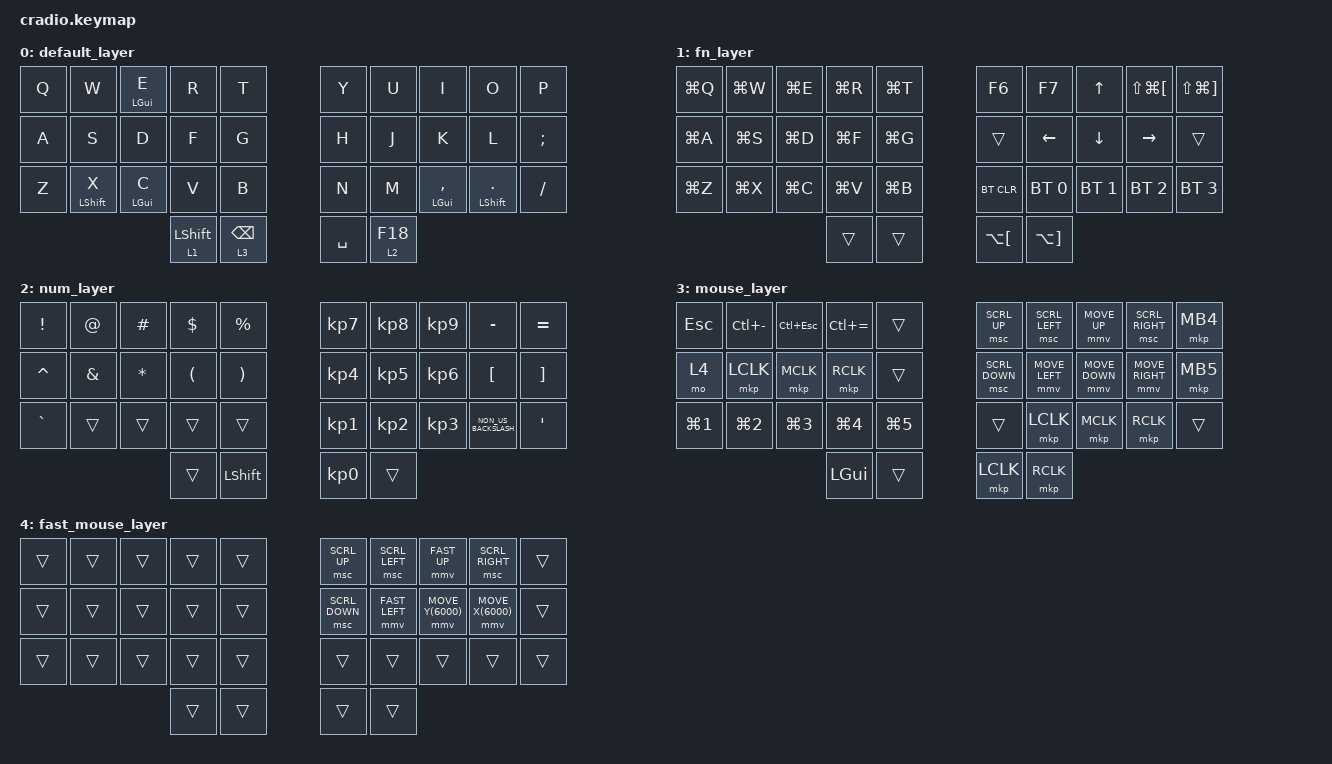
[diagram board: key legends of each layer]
// 🚀 마우스 최대 속도 직접 지정 (반드시 include 헤더들보다 위에 적어야 함!) 🚀
// #define ZMK_MOUSE_DEFAULT_MOVE_VAL 1500  // 마우스 이동 최고 속도 (기본값 보통 600, 1500~2000 추천)
// #define ZMK_MOUSE_DEFAULT_SCRL_VAL 15    // 마우스 휠 최고 속도 (기본값 보통 10)
// v0.3 매크로 이름으로 변경

#define ZMK_POINTING_DEFAULT_MOVE_VAL 3500   // 최고 속도 (이전 2000 → 3500)
#define ZMK_POINTING_DEFAULT_SCRL_VAL 15
#define FAST_UP    MOVE_Y(-6000)
#define FAST_DOWN  MOVE_Y(6000)
#define FAST_LEFT  MOVE_X(-6000)
#define FAST_RIGHT MOVE_X(6000)

#include <behaviors.dtsi>
#include <dt-bindings/zmk/bt.h>
#include <dt-bindings/zmk/keys.h>
#include <dt-bindings/zmk/pointing.h>

// 🚀 마우스 이동 속도 & 가속도 튜닝 🚀

&mmv {
    trigger-period-ms = <5>;         // 업데이트 주기 (8 → 5, 끊김 완화)
    acceleration-exponent = <1>;      // 가속도 (2차→선형, 초반 속도 즉시 반응)
    time-to-max-speed-ms = <400>;     // 최고 속도 도달 시간 (300 → 400, 가속 곡선 살짝 완만하게)
    delay-ms = <0>;                   // 키를 누르고 마우스가 움직이기 시작할 때까지의 딜레이
};

// 🌀 마우스 휠 스크롤 속도 튜닝 🌀

&msc {
    trigger-period-ms = <8>;         // 스크롤 업데이트 주기
    acceleration-exponent = <0>;      // 가속도 없음 → 첫 입력부터 최고 속도 (즉답)
    time-to-max-speed-ms = <120>;     // 보조용 (exponent=0이면 거의 영향 없음)
    delay-ms = <0>;                   // 스크롤 딜레이
};

&mt {
    flavor = "balanced";
    tapping-term-ms = <180>;
    quick-tap-ms = <150>;
    require-prior-idle-ms = <125>;
};

/ {
    behaviors {
        // hold → mo, tap → sticky shift (한글 쌍자음 타이핑용)

        lt_sk: layer_tap_sticky {
            compatible = "zmk,behavior-hold-tap";
            #binding-cells = <2>;
            tapping-term-ms = <200>;
            quick-tap-ms = <175>;
            flavor = "balanced";
            bindings = <&mo>, <&sk>;
        };

        // 탭 후 홀드하면 tap 동작 반복 (백스페이스 연타)

        lt_bspc: layer_tap_backspace {
            compatible = "zmk,behavior-hold-tap";
            #binding-cells = <2>;
            tapping-term-ms = <200>;
            quick-tap-ms = <200>;
            flavor = "tap-preferred";
            bindings = <&mo>, <&kp>;
        };
    };

    macros {
        mc_vim_save: mc_vim_save {
            compatible = "zmk,behavior-macro";
            #binding-cells = <0>;
            wait-ms = <10>;
            tap-ms = <10>;
            bindings = <&kp COLON &kp W &kp ENTER>;
        };

        mc_vim_qa: mc_vim_qa {
            compatible = "zmk,behavior-macro";
            #binding-cells = <0>;
            wait-ms = <10>;
            tap-ms = <10>;
            bindings = <&kp COLON &kp Q &kp A &kp ENTER>;
        };
    };

    // UHK 콤보(동시 입력) 완벽 이식
    /*     Left Hand               Right Hand */
    /* ╭───┬───┬───┬───┬───╮   ╭───┬───┬───┬───┬───╮ */
    /* │ 0 │ 1 │ 2 │ 3 │ 4 │   │ 5 │ 6 │ 7 │ 8 │ 9 │  (상단) */
    /* ├───┼───┼───┼───┼───┤   ├───┼───┼───┼───┼───┤ */
    /* │10 │11 │12 │13 │14 │   │15 │16 │17 │18 │19 │  (중단/홈) */
    /* ├───┼───┼───┼───┼───┤   ├───┼───┼───┼───┼───┤ */
    /* │20 │21 │22 │23 │24 │   │25 │26 │27 │28 │29 │  (하단) */
    /* ╰───┴───┴───┼───┼───┤   ├───┼───┴───┴───┴───╯ */
    /*             │30 │31 │   │32 │33 │              (엄지) */
    /*             ╰───┴───╯   ╰───┴───╯ */

    combos {
        compatible = "zmk,combos";

        combo_tab {
            timeout-ms = <50>;
            key-positions = <0 1>; // Q + W
            bindings = <&kp TAB>;
        };

        combo_shift_tab {
            timeout-ms = <60>;
            key-positions = <1 2>; // W + E
            bindings = <&kp LS(TAB)>;
        };

        combo_enter {
            timeout-ms = <40>;
            key-positions = <16 18>; // J + L
            bindings = <&kp ENTER>;
        };

        AS_LCTRL {
            timeout-ms = <30>;
            layers = <0>;
            bindings = <&kp LCTRL>;
            key-positions = <10 11>;
        };

        SD_LGUI {
            timeout-ms = <30>;
            layers = <0>;
            bindings = <&kp LGUI>;
            key-positions = <11 12>;
        };

        DF_LSHFT {
            timeout-ms = <30>;
            layers = <0>;
            bindings = <&kp LSHFT>;
            key-positions = <12 13>;
        };

        FG_LALT {
            timeout-ms = <30>;
            layers = <0>;
            bindings = <&kp LALT>;
            key-positions = <13 14>;
        };

        JK_RCTRL {
            timeout-ms = <30>;
            layers = <0>;
            bindings = <&kp LCTRL>;
            key-positions = <16 17>;
        };

        KL_RGUI {
            timeout-ms = <30>;
            layers = <0>;
            bindings = <&kp LGUI>;
            key-positions = <17 18>;
        };

        LL_RSHFT {
            timeout-ms = <30>;
            layers = <0>;
            bindings = <&kp LSHFT>;
            key-positions = <18 19>;
        };

        combo_enter_nm {
            timeout-ms = <40>;
            layers = <0>;
            key-positions = <25 26>; // N + M → ENTER
            bindings = <&kp ENTER>;
        };

        combo_vim_save {
            timeout-ms = <40>;
            layers = <0>;
            key-positions = <24 25>;
            bindings = <&mc_vim_save>;
        };

        combo_vim_qa {
            timeout-ms = <40>;
            layers = <0>;
            key-positions = <23 26>;
            bindings = <&mc_vim_qa>;
        };

        combo_screenshot {
            timeout-ms = <60>;
            layers = <0>;
            key-positions = <1 2 3>; // W + E + R → Cmd+Ctrl+Shift+4 (맥 스샷 클립보드 복사)
            bindings = <&kp LG(LC(LS(N4)))>;
        };

        combo_esc_wr {
            timeout-ms = <50>;
            layers = <0>;
            key-positions = <1 3>; // W + R → ESC
            bindings = <&kp ESC>;
        };

        combo_esc_rt {
            timeout-ms = <50>;
            layers = <0>;
            key-positions = <3 4>; // R + T → ESC
            bindings = <&kp ESC>;
        };

        combo_esc_yu {
            timeout-ms = <50>;
            layers = <0>;
            key-positions = <5 6>; // Y + U → ESC
            bindings = <&kp ESC>;
        };

        combo_enter_vb {
            timeout-ms = <40>;
            layers = <0>;
            key-positions = <23 24>; // V + B → ENTER
            bindings = <&kp ENTER>;
        };

        combo_caps_lock {
            timeout-ms = <60>;
            layers = <0>;
            key-positions = <20 21 22>; // Z + X + C → CAPS LOCK
            bindings = <&kp CAPSLOCK>;
        };

        combo_hold_cmd_shift {
            timeout-ms = <60>;
            layers = <0>;
            key-positions = <16 17 18>; // J + K + L → 누르고 있는 동안 Cmd+Shift 유지
            bindings = <&kp LS(LGUI)>;
        };

        chrome_developer_tool {
            bindings = <&kp LG(LA(I))>;
            key-positions = <27 28 29>;
        };
    };

    keymap {
        compatible = "zmk,keymap";

        // Layer 0: 기본 배열 (X, C, ,, . 길게 누르기 UHK Secondary Role 적용)
        default_layer {
            bindings = <
&kp Q       &kp W        &mt LGUI E  &kp R           &kp T              &kp Y      &kp U        &kp I       &kp O        &kp P
&kp A       &kp S        &kp D       &kp F           &kp G              &kp H      &kp J        &kp K       &kp L        &kp SEMI
&kp Z       &mt LSHFT X  &mt LGUI C  &kp V           &kp B              &kp N      &kp M        &mt LGUI COMMA  &mt LSHFT DOT  &kp FSLH
                                     &lt_sk 1 LSHFT  &lt 3 BACKSPACE    &kp SPACE  &lt 2 F18
            >;
        };

        //         default_layer {
        //             bindings = <
        // &kp Q  &kp W  &kp E  &kp R           &kp T                   &kp Y      &kp U      &kp I      &kp O    &kp P
        // &kp A  &kp S  &kp D  &kp F           &kp G                   &kp H      &kp J      &kp K      &kp L    &kp SEMI
        // &kp Z  &kp X  &kp C  &kp V           &kp B                   &kp N      &kp M      &kp COMMA  &kp DOT  &mt LSHFT FSLH
        //                      &lt_sk 1 LSHFT  &lt_bspc 3 BACKSPACE    &kp SPACE  &lt 2 F18
        //             >;
        //         };

        // Layer 1: 방향키 및 숫자 (왼쪽 엄지 꾹)

        fn_layer {
            bindings = <
&kp LG(Q)  &kp LG(W)  &kp LG(E)  &kp LG(R)  &kp LG(T)    &kp F6      &kp F7        &kp UP_ARROW  &kp LS(LG(LBKT))  &kp LS(LG(RBKT))
&kp LG(A)  &kp LG(S)  &kp LG(D)  &kp LG(F)  &kp LG(G)    &trans      &kp LEFT      &kp DOWN      &kp RIGHT     &trans
&kp LG(Z)  &kp LG(X)  &kp LG(C)  &kp LG(V)  &kp LG(B)    &bt BT_CLR  &bt BT_SEL 0  &bt BT_SEL 1  &bt BT_SEL 2  &bt BT_SEL 3
                                 &trans     &trans       &kp LA(LBKT)  &kp LA(RBKT)
            >;
        };

        // Layer 2: 특수기호 (추가 확장용)

        num_layer {
            bindings = <
&kp EXCL   &kp AT         &kp HASH      &kp DLLR              &kp PRCNT                &kp KP_NUMBER_7  &kp KP_NUMBER_8  &kp KP_NUMBER_9  &kp MINUS             &kp EQUAL
&kp CARET  &kp AMPERSAND  &kp ASTERISK  &kp LEFT_PARENTHESIS  &kp RIGHT_PARENTHESIS    &kp KP_NUMBER_4  &kp KP_NUMBER_5  &kp KP_NUMBER_6  &kp LEFT_BRACKET      &kp RIGHT_BRACKET
&kp GRAVE  &trans         &trans        &trans                &trans                   &kp KP_NUMBER_1  &kp KP_NUMBER_2  &kp KP_NUMBER_3  &kp NON_US_BACKSLASH  &kp SINGLE_QUOTE
                                        &trans                &kp LEFT_SHIFT           &kp KP_NUMBER_0  &trans
            >;
        };

        // Layer 3: MOUSE 레이어 (우측 바깥쪽 엄지 꾹 눌렀을 때 발동)
        // UHK 배열 적용: Y,H,U,O(스크롤) / I,J,K,L(이동) / M,,.(클릭)

        mouse_layer {
            bindings = <
&kp ESC  &kp LC(MINUS)  &kp LC(ESCAPE)  &kp LC(EQUAL)  &trans    &msc SCRL_UP    &msc SCRL_LEFT  &mmv MOVE_UP    &msc SCRL_RIGHT  &mkp MB4
&mo 4    &mkp LCLK      &mkp MCLK       &mkp RCLK      &trans    &msc SCRL_DOWN  &mmv MOVE_LEFT  &mmv MOVE_DOWN  &mmv MOVE_RIGHT  &mkp MB5
&kp LG(N1)  &kp LG(N2)  &kp LG(N3)  &kp LG(N4)  &kp LG(N5)    &trans          &mkp LCLK       &mkp MCLK       &mkp RCLK        &trans
                                        &kp LGUI       &trans    &mkp LCLK       &mkp RCLK
            >;
        };

        fast_mouse_layer {
            bindings = <
&trans  &trans  &trans  &trans  &trans    &msc SCRL_UP    &msc SCRL_LEFT  &mmv FAST_UP    &msc SCRL_RIGHT  &trans
&trans  &trans  &trans  &trans  &trans    &msc SCRL_DOWN  &mmv FAST_LEFT  &mmv FAST_DOWN  &mmv FAST_RIGHT  &trans
&trans  &trans  &trans  &trans  &trans    &trans          &trans          &trans          &trans           &trans
                        &trans  &trans    &trans          &trans
            >;
        };
    };
};
